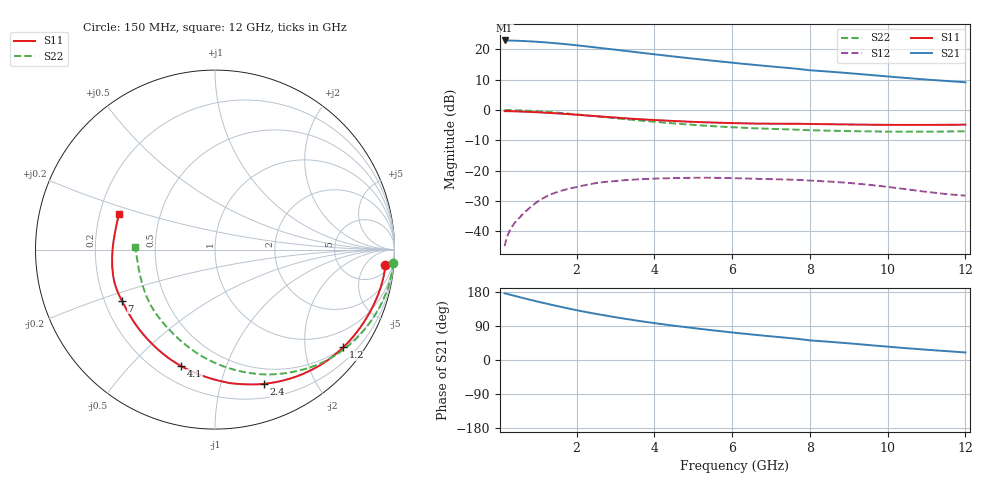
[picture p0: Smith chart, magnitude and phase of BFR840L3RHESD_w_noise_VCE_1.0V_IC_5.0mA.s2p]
! Infineon Technologies  Discrete & RF Semiconductors
! BFR840L3RHESD
! VCE =  1.0 V,  IC =  5.0 mA
! Common Emitter S-Parameters:  Jun 2012
# GHz  S  MA  R  50
!  f  S11  S21  S12  S22
! GHz  MAG  ANG  MAG  ANG  MAG  ANG  MAG  ANG
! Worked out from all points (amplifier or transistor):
!   91 points, 150 MHz to 12 GHz, reference 50 ohm
!   highest |S21| = 22.9 dB at 150 MHz (marker M1)
!   |S21| within 3 dB of that: start of sweep to 2.978 GHz
!   unconditionally stable (mu >= 1): 9.233 GHz to end of sweep
!   at 1.3 GHz: K = 0.09, MSG = 25.1 dB, |S12| = -28.0 dB
!   at 4.3 GHz: K = 0.29, MSG = 20.2 dB, |S12| = -22.5 dB
!   at 12 GHz: K = 2.30, MAG = 12.3 dB, |S12| = -28.2 dB
!   lowest NFmin = 0.50 dB at 450 MHz
!   S11 on the Smith chart (normalised r, x): 150 MHz: 10, -17; 1.2 GHz: 0.51, -2.88; 2.4 GHz: 0.34, -1.37; 4.1 GHz: 0.30, -0.71; 7 GHz: 0.27, -0.24; 12 GHz: 0.28, +0.17
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0.15  0.9525 -5.0  13.89 176.1  0.0057 83.2  0.9964 -4.2
0.35  0.9488 -11.5  13.81 170.8  0.0122 80.6  0.9909 -9.9
0.6  0.9359 -19.3  13.63 164.2  0.0187 75.3  0.978 -16.7
0.9  0.9178 -28.5  13.31 156.6  0.0277 68.8  0.9561 -24.6
1.2  0.8983 -37.3  12.91 149.4  0.0369 63.3  0.9298 -32.3
1.4  0.8836 -43.1  12.6 144.7  0.0421 59.7  0.9102 -37.2
1.7  0.8585 -51.6  12.1 137.9  0.0484 54.3  0.8777 -44.4
1.9  0.8406 -57.1  11.75 133.6  0.052 50.6  0.8543 -49.1
2.2  0.8135 -65.0  11.2 127.4  0.0573 45.6  0.8183 -55.7
2.4  0.796 -70.0  10.83 123.6  0.0607 42.6  0.7949 -59.9
3  0.7479 -83.9  9.803 112.8  0.0671 34.1  0.7295 -71.5
3.2  0.7308 -88.3  9.446 109.6  0.0693 31.7  0.7081 -75.4
3.6  0.7034 -96.6  8.813 103.2  0.0719 27.0  0.6699 -82.4
4.1  0.6757 -106.3  8.089 96.0  0.0741 21.7  0.6283 -90.6
4.2  0.6707 -108.1  7.953 94.6  0.0744 20.7  0.6207 -92.2
5.1  0.6312 -123.8  6.867 83.1  0.0762 12.5  0.5605 -105.8
6.1  0.6039 -139.2  5.897 71.6  0.0749 5.3  0.5137 -119.8
7  0.5919 -151.3  5.192 62.4  0.0723 0.0  0.4871 -131.4
8  0.5857 -165.8  4.487 51.8  0.0685 -6.6  0.4622 -145.5
8.5  0.5804 -170.6  4.263 48.1  0.066 -9.1  0.4546 -150.2
10.5  0.5652 170.1  3.341 31.0  0.0491 -15.6  0.4369 -170.1
12  0.5708 159.6  2.848 19.9  0.0387 -8.1  0.4447 178.4
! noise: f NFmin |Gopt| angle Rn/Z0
0.45  0.5  0.54  7  0.19
0.9  0.54  0.53  11  0.18
1.9  0.57  0.52  28  0.18
3.5  0.59  0.52  47  0.16
4  0.61  0.51  55  0.16
5.5  0.66  0.52  70  0.14
7  0.73  0.5  89  0.13
8  0.79  0.46  100  0.12
10  0.93  0.42  122  0.1
12  1.1  0.35  153  0.08
